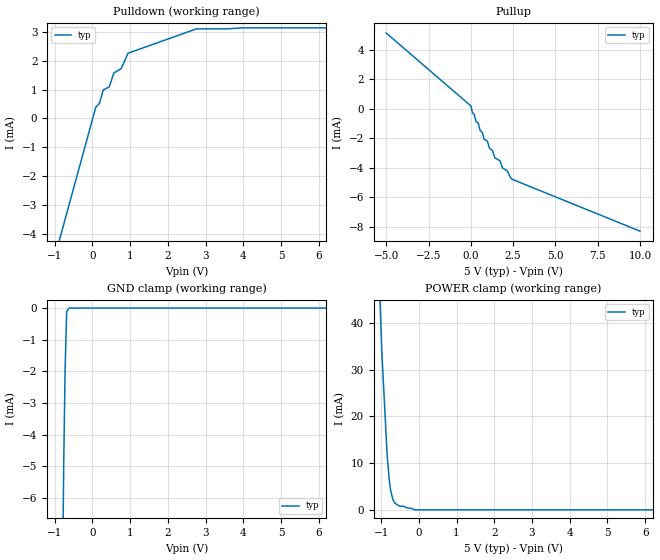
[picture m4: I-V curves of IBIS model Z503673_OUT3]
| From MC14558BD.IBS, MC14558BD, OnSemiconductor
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| (C) COPYRIGHT 1993-2000
| MENTOR GRAPHICS CORPORATION
| ICX STANDARD LIBRARY, ICX PROJECT MODELING,
| ICX CUSTOM MODELING, ICX VENDOR MODEL
| ALL RIGHTS RESERVED.
| THE FOLLOWING ARE TRADEMARKS OR SERVICE MARKS OF
| MENTOR GRAPHICS CORPORATION:ICX (R), ICX STANDARD
| LIBRARY(R), ICX PROJECT MODELING(R), ICX CUSTOM
| MODELING(R), qualityIBIS(TM), MODELVIEWER(TM),
| AND MODELEDITOR(TM)
| ALL COPIES OF SOFTWARE, INCLUDING BUT NOT LIMITED TO
| ANY MODIFICATIONS, ENHANCEMENTS OR DERIVATIVE WORKS,
| MUST CONTAIN ALL MENTOR GRAPHICS CORPORATION'S
| NOTICES AND LEGENDS, INCLUDING THOSE EMBEDDED IN
| SOFTWARE AND THOSE AFFIXED TO SOFTWARE MEDIUM
| AND CONTAINER, AS RECEIVED FROM MENTOR GRAPHICS
| CORPORATION.
| Model Application Version 1.89 2/18/99.
[Model] Z503673_OUT3
Model_type Output
Vref=0.000V
Rref=500.0Mohms
Cref=50.00pF
Vmeas=2.500V
C_comp 8.000pF NA NA
| variable typ   min   max
[Voltage Range] 5.000V NA NA
[POWER Clamp Reference] 5.000V NA NA
[Pullup Reference] 5.000V NA NA
[Pulldown Reference] 0.000V NA NA
[GND Clamp Reference] 0.000V NA NA
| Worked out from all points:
|   slope of the pulldown table from 0 to 0.75 V, typ, clamps not added: 429 ohm
|   slope of the pullup table from 0 to 0.75 V, typ, clamps not added: 355 ohm
|   GND clamp passes 1 mA (typ) near -0.70 V on its own axis
|   POWER clamp passes 1 mA (typ) near -0.55 V on its own axis
[GND Clamp]
-5V       -495mA     NA         NA
-761.7mV  -4.904mA   NA         NA
-725.4mV  -1.936mA   NA         NA
-683.6mV  -105.1uA   NA         NA
-615.2mV  0A         NA         NA
10V       0A         NA         NA
[Pulldown]
-5V       -23.85mA   NA         NA
87.13mV   385.7uA    NA         NA
188.4mV   532uA      NA         NA
284.6mV   984.4uA    NA         NA
446.7mV   1.097mA    NA         NA
566.7mV   1.574mA    NA         NA
766.6mV   1.731mA    NA         NA
941.4mV   2.256mA    NA         NA
2.758V    3.099mA    NA         NA
3.569V    3.099mA    NA         NA
3.975V    3.134mA    NA         NA
10V       3.134mA    NA         NA
[Pullup]
-5V       5.115mA    NA         NA
5mV       179.3uA    NA         NA
87mV      -248.8uA   NA         NA
440mV     -987.9uA   NA         NA
781mV     -2.062mA   NA         NA
981mV     -2.203mA   NA         NA
1.416V    -3.328mA   NA         NA
1.715V    -3.519mA   NA         NA
1.875V    -4.023mA   NA         NA
2.158V    -4.218mA   NA         NA
2.433V    -4.782mA   NA         NA
10V       -8.296mA   NA         NA
[POWER Clamp]
-5V       1.074A     NA         NA
-1.138V   68.63mA    NA         NA
-977mV    33.21mA    NA         NA
-840mV    11.82mA    NA         NA
-786mV    6.573mA    NA         NA
-747mV    4.217mA    NA         NA
-689mV    2.226mA    NA         NA
-632mV    1.412mA    NA         NA
-512mV    792.9uA    NA         NA
-395mV    759.2uA    NA         NA
-107.5mV  0A         NA         NA
10V       0A         NA         NA
[Ramp]
| variable typ min max
dV/dt_r 2.575/9.898n NA NA
dV/dt_f 2.575/12.00n NA NA
R_load = 2.500kOhms
